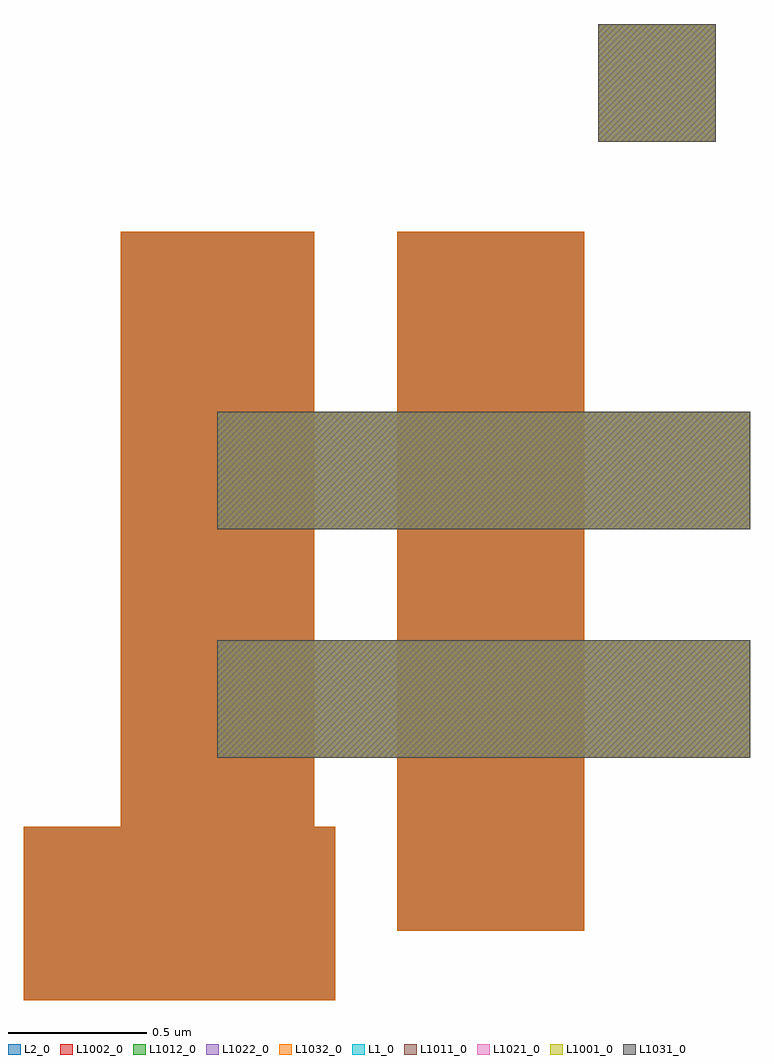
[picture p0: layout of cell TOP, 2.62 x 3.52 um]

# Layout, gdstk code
from math import pi, radians
import gdstk
lib = gdstk.Library(unit=1e-6, precision=1e-09)
def R(c, l, rs):  # rectangles x0, y0, x1, y1
    for r in rs: c.add(gdstk.rectangle(r[:2], r[2:], *l))
L1_0 = (1, 0)
L2_0 = (2, 0)
L1001_0 = (1001, 0)
L1002_0 = (1002, 0)
L1011_0 = (1011, 0)
L1012_0 = (1012, 0)
L1021_0 = (1021, 0)
L1022_0 = (1022, 0)
L1031_0 = (1031, 0)
L1032_0 = (1032, 0)

c_b = lib.new_cell('B')
R(c_b, L1_0, [(-0.2,-0.2,0.225,0.225)])
R(c_b, L1001_0, [(-0.2,-0.2,0.225,0.225)])
R(c_b, L1011_0, [(-0.2,-0.2,0.225,0.225)])
R(c_b, L1021_0, [(-0.2,-0.2,0.225,0.225)])
R(c_b, L1031_0, [(-0.2,-0.2,0.225,0.225)])

c_a = lib.new_cell('A')
R(c_a, L1_0, [(-0.125,0.075,1.8,0.5)])
R(c_a, L2_0, [(0.525,-0.55,1.2,1.15)])
R(c_a, L1001_0, [(-0.125,0.075,0.175,0.5), (0.6,0.075,1.1,0.5), (1.525,0.075,1.8,0.5)])
R(c_a, L1002_0, [(0.525,-0.55,1.2,1.15)])
R(c_a, L1011_0, [(-0.125,0.075,1.8,0.5)])
R(c_a, L1012_0, [(0.525,-0.55,1.2,1.15)])
R(c_a, L1021_0, [(-0.125,0.075,1.8,0.5)])
R(c_a, L1022_0, [(0.525,-0.55,1.2,1.15)])
R(c_a, L1031_0, [(-0.125,0.075,0.175,0.5), (0.6,0.075,1.1,0.5), (1.525,0.075,1.8,0.5)])
R(c_a, L1032_0, [(0.525,-0.55,1.2,1.15)])
c_a.add(gdstk.Reference(c_b, (0.4,0.275), rotation=pi/2))
c_a.add(gdstk.Reference(c_b, (1.325,0.275), rotation=pi/2))

top = lib.new_cell('TOP')
R(top, L1_0, [(1.825,1.775,2.25,2.2)])
R(top, L2_0, [(-0.25,-1.325,0.875,-0.7), (0.1,-1.1,0.8,1.45), (1.1,-0.775,1.775,1.25)])
R(top, L1002_0, [(-0.25,-1.325,0.875,-0.7), (0.1,-1.1,0.8,1.45)])
R(top, L1012_0, [(-0.25,-1.325,0.875,-0.7), (0.1,-1.1,0.8,1.45)])
R(top, L1022_0, [(-0.25,-1.325,0.875,-0.7), (0.1,-1.1,0.8,1.45)])
R(top, L1032_0, [(-0.25,-1.325,0.875,-0.7), (0.1,-1.1,0.8,1.45)])
top.add(gdstk.Reference(c_a, (0.575,0.3)))
top.add(gdstk.Reference(c_a, (0.575,-0.525)))
top.add(gdstk.Reference(c_b, (2.05,1.975), rotation=pi/2))

lib.write_gds('TOP.gds')
